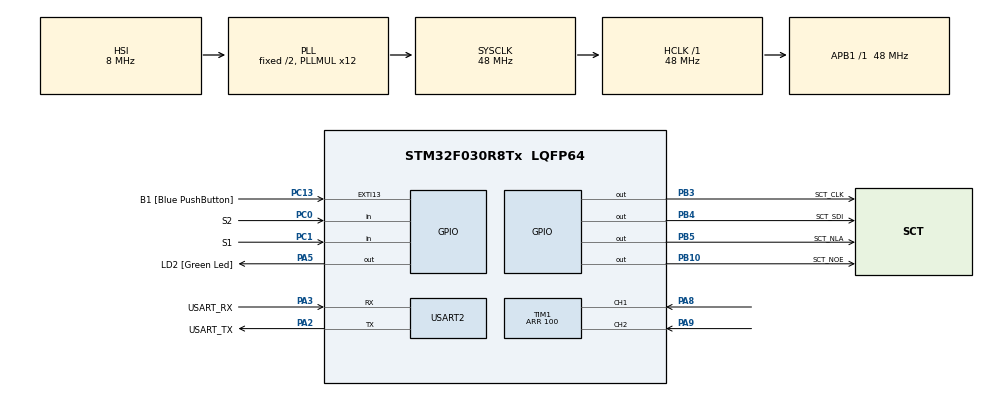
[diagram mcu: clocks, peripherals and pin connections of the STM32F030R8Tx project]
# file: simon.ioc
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Mcu.Family=STM32F0
Mcu.Name=STM32F030R8Tx
Mcu.Package=LQFP64
PA13.GPIO_Label=TMS
PA13.Mode=Serial_Wire
PA13.Signal=SYS_SWDIO
PA14.GPIO_Label=TCK
PA14.Mode=Serial_Wire
PA14.Signal=SYS_SWCLK
PA2.GPIO_Label=USART_TX
PA2.GPIO_Mode=GPIO_MODE_AF_PP
PA2.GPIO_PuPd=GPIO_NOPULL
PA2.GPIO_Speed=GPIO_SPEED_FREQ_LOW
PA2.Mode=Asynchronous
PA2.Signal=USART2_TX
PA3.GPIO_Label=USART_RX
PA3.GPIO_Mode=GPIO_MODE_AF_PP
PA3.GPIO_PuPd=GPIO_NOPULL
PA3.GPIO_Speed=GPIO_SPEED_FREQ_LOW
PA3.Mode=Asynchronous
PA3.Signal=USART2_RX
PA5.GPIO_Label=LD2 [Green Led]
PA5.GPIO_Mode=GPIO_MODE_OUTPUT_PP
PA5.GPIO_PuPd=GPIO_NOPULL
PA5.GPIO_Speed=GPIO_SPEED_FREQ_LOW
PA5.Signal=GPIO_Output
PA8.Signal=S_TIM1_CH1
PA9.Signal=S_TIM1_CH2
PB10.GPIO_Label=SCT_NOE
PB10.Signal=GPIO_Output
PB3.GPIO_Label=SCT_CLK
PB3.Signal=GPIO_Output
PB4.GPIO_Label=SCT_SDI
PB4.Signal=GPIO_Output
PB5.GPIO_Label=SCT_NLA
PB5.Signal=GPIO_Output
PC0.GPIO_Label=S2
PC0.GPIO_PuPd=GPIO_PULLUP
PC0.Signal=GPIO_Input
PC1.GPIO_Label=S1
PC1.GPIO_PuPd=GPIO_PULLUP
PC1.Signal=GPIO_Input
PC13.GPIO_Label=B1 [Blue PushButton]
PC13.GPIO_ModeDefaultEXTI=GPIO_MODE_IT_FALLING
PC13.Signal=GPXTI13
PC14-OSC32_IN.Mode=LSE-External-Oscillator
PC14-OSC32_IN.Signal=RCC_OSC32_IN
PC15-OSC32_OUT.Mode=LSE-External-Oscillator
PC15-OSC32_OUT.Signal=RCC_OSC32_OUT
PF0-OSC_IN.Mode=HSE-External-Clock-Source
PF0-OSC_IN.Signal=RCC_OSC_IN
PF1-OSC_OUT.Signal=RCC_OSC_OUT
ProjectManager.HeapSize=0x200
ProjectManager.StackSize=0x400
ProjectManager.TargetToolchain=STM32CubeIDE
RCC.AHBFreq_Value=48000000
RCC.APB1Freq_Value=48000000
RCC.APB1TimFreq_Value=48000000
RCC.HCLKFreq_Value=48000000
RCC.PLLMUL=RCC_PLL_MUL12
RCC.SYSCLKFreq_VALUE=48000000
RCC.SYSCLKSource=RCC_SYSCLKSOURCE_PLLCLK
SH.S_TIM1_CH1.0=TIM1_CH1,Encoder_Interface
SH.S_TIM1_CH2.0=TIM1_CH2,Encoder_Interface
TIM1.IC2Polarity=TIM_ICPOLARITY_FALLING
TIM1.Period=100
USART2.VirtualMode-Asynchronous=VM_ASYNC
board=NUCLEO-F030R8

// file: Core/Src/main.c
/* USER CODE BEGIN Header */
/**
  ******************************************************************************
  * @file           : main.c
  * @brief          : Main program body
  ******************************************************************************
  * @attention
  *
  * Copyright (c) 2022 STMicroelectronics.
  * All rights reserved.
  *
  * This software is licensed under terms that can be found in the LICENSE file
  * in the root directory of this software component.
  * If no LICENSE file comes with this software, it is provided AS-IS.
  *
  ******************************************************************************
  */
/* USER CODE END Header */
#include "main.h"

/* USER CODE BEGIN Includes */
#include "sct.h"
/* USER CODE END Includes */

TIM_HandleTypeDef htim1;

UART_HandleTypeDef huart2;

void SystemClock_Config(void);
static void MX_GPIO_Init(void);
static void MX_USART2_UART_Init(void);
static void MX_TIM1_Init(void);

/* USER CODE BEGIN 0 */
static uint8_t led = 0;
static uint16_t value;
static uint32_t tick;

void posun_p()
{
	value =  __HAL_TIM_GET_COUNTER(&htim1)*20;
	if (HAL_GetTick() >= tick + value)
	{
		sct_value(value, led);
		if(led==8)
		{
			led=1;
		}
		else
		{
			led++;
		}
		tick = HAL_GetTick();
		HAL_Delay(50);
	}
}

void posun_l()
{
	value =  __HAL_TIM_GET_COUNTER(&htim1)*20;
	if (HAL_GetTick() >= tick + value)
	{
		sct_value(value, led);
		if(led==0)
		{
			led=8;
		}
		else
		{
			led--;
		}
		tick = HAL_GetTick();
		HAL_Delay(50);
	}

}
/* USER CODE END 0 */

int main(void)
{

  /* MCU Configuration--------------------------------------------------------*/

  /* Reset of all peripherals, Initializes the Flash interface and the Systick. */
  HAL_Init();

  /* Configure the system clock */
  SystemClock_Config();

  /* Initialize all configured peripherals */
  MX_GPIO_Init();
  MX_USART2_UART_Init();
  MX_TIM1_Init();
  /* USER CODE BEGIN 2 */
  sct_init();
  HAL_Delay(1000);
  HAL_TIM_Encoder_Start(&htim1, htim1.Channel);

  /* USER CODE END 2 */

  /* Infinite loop */
  while (1)
  {

    /* USER CODE BEGIN 3 */

	  static enum {SHOW_PRAVO, SHOW_LEVO} state = SHOW_PRAVO;

	  	  if(HAL_GPIO_ReadPin(S1_GPIO_Port,S1_Pin)==0)
	  	  {
	  		  state= SHOW_PRAVO;
	  	  }
	  	  else if(HAL_GPIO_ReadPin(S2_GPIO_Port,S2_Pin)==0)
	  	  {
	  		  state= SHOW_LEVO;
	  	  }

	  	  if (state == SHOW_PRAVO)
	  	  {
	  		posun_p();
	  	  }
	  	  else if(state == SHOW_LEVO)
	  	  {
	  		posun_l();
	  	  }

  }
  /* USER CODE END 3 */
}

void SystemClock_Config(void)
{
  RCC_OscInitTypeDef RCC_OscInitStruct = {0};
  RCC_ClkInitTypeDef RCC_ClkInitStruct = {0};

  /** Initializes the RCC Oscillators according to the specified parameters
  * in the RCC_OscInitTypeDef structure.
  */
  RCC_OscInitStruct.OscillatorType = RCC_OSCILLATORTYPE_HSI;
  RCC_OscInitStruct.HSIState = RCC_HSI_ON;
  RCC_OscInitStruct.HSICalibrationValue = RCC_HSICALIBRATION_DEFAULT;
  RCC_OscInitStruct.PLL.PLLState = RCC_PLL_ON;
  RCC_OscInitStruct.PLL.PLLSource = RCC_PLLSOURCE_HSI;
  RCC_OscInitStruct.PLL.PLLMUL = RCC_PLL_MUL12;
  RCC_OscInitStruct.PLL.PREDIV = RCC_PREDIV_DIV1;
  if (HAL_RCC_OscConfig(&RCC_OscInitStruct) != HAL_OK)
  {
    Error_Handler();
  }
  /** Initializes the CPU, AHB and APB buses clocks
  */
  RCC_ClkInitStruct.ClockType = RCC_CLOCKTYPE_HCLK|RCC_CLOCKTYPE_SYSCLK
                              |RCC_CLOCKTYPE_PCLK1;
  RCC_ClkInitStruct.SYSCLKSource = RCC_SYSCLKSOURCE_PLLCLK;
  RCC_ClkInitStruct.AHBCLKDivider = RCC_SYSCLK_DIV1;
  RCC_ClkInitStruct.APB1CLKDivider = RCC_HCLK_DIV1;

  if (HAL_RCC_ClockConfig(&RCC_ClkInitStruct, FLASH_LATENCY_1) != HAL_OK)
  {
    Error_Handler();
  }
}

static void MX_TIM1_Init(void)
{

  TIM_Encoder_InitTypeDef sConfig = {0};
  TIM_MasterConfigTypeDef sMasterConfig = {0};

  htim1.Instance = TIM1;
  htim1.Init.Prescaler = 0;
  htim1.Init.CounterMode = TIM_COUNTERMODE_UP;
  htim1.Init.Period = 100;
  htim1.Init.ClockDivision = TIM_CLOCKDIVISION_DIV1;
  htim1.Init.RepetitionCounter = 0;
  htim1.Init.AutoReloadPreload = TIM_AUTORELOAD_PRELOAD_DISABLE;
  sConfig.EncoderMode = TIM_ENCODERMODE_TI1;
  sConfig.IC1Polarity = TIM_ICPOLARITY_RISING;
  sConfig.IC1Selection = TIM_ICSELECTION_DIRECTTI;
  sConfig.IC1Prescaler = TIM_ICPSC_DIV1;
  sConfig.IC1Filter = 0;
  sConfig.IC2Polarity = TIM_ICPOLARITY_FALLING;
  sConfig.IC2Selection = TIM_ICSELECTION_DIRECTTI;
  sConfig.IC2Prescaler = TIM_ICPSC_DIV1;
  sConfig.IC2Filter = 0;
  if (HAL_TIM_Encoder_Init(&htim1, &sConfig) != HAL_OK)
  {
    Error_Handler();
  }
  sMasterConfig.MasterOutputTrigger = TIM_TRGO_RESET;
  sMasterConfig.MasterSlaveMode = TIM_MASTERSLAVEMODE_DISABLE;
  if (HAL_TIMEx_MasterConfigSynchronization(&htim1, &sMasterConfig) != HAL_OK)
  {
    Error_Handler();
  }

}

static void MX_USART2_UART_Init(void)
{

  huart2.Instance = USART2;
  huart2.Init.BaudRate = 38400;
  huart2.Init.WordLength = UART_WORDLENGTH_8B;
  huart2.Init.StopBits = UART_STOPBITS_1;
  huart2.Init.Parity = UART_PARITY_NONE;
  huart2.Init.Mode = UART_MODE_TX_RX;
  huart2.Init.HwFlowCtl = UART_HWCONTROL_NONE;
  huart2.Init.OverSampling = UART_OVERSAMPLING_16;
  huart2.Init.OneBitSampling = UART_ONE_BIT_SAMPLE_DISABLE;
  huart2.AdvancedInit.AdvFeatureInit = UART_ADVFEATURE_NO_INIT;
  if (HAL_UART_Init(&huart2) != HAL_OK)
  {
    Error_Handler();
  }

}

static void MX_GPIO_Init(void)
{
  GPIO_InitTypeDef GPIO_InitStruct = {0};

  /* GPIO Ports Clock Enable */
  __HAL_RCC_GPIOC_CLK_ENABLE();
  __HAL_RCC_GPIOF_CLK_ENABLE();
  __HAL_RCC_GPIOA_CLK_ENABLE();
  __HAL_RCC_GPIOB_CLK_ENABLE();

  /*Configure GPIO pin Output Level */
  HAL_GPIO_WritePin(GPIOA, GPIO_PIN_5, GPIO_PIN_RESET);

  /*Configure GPIO pin Output Level */
  HAL_GPIO_WritePin(GPIOB, GPIO_PIN_10|GPIO_PIN_3|GPIO_PIN_4|GPIO_PIN_5, GPIO_PIN_RESET);

  /*Configure GPIO pin : PC13 */
  GPIO_InitStruct.Pin = GPIO_PIN_13;
  GPIO_InitStruct.Mode = GPIO_MODE_IT_FALLING;
  GPIO_InitStruct.Pull = GPIO_NOPULL;
  HAL_GPIO_Init(GPIOC, &GPIO_InitStruct);

  /*Configure GPIO pins : PC0 PC1 */
  GPIO_InitStruct.Pin = GPIO_PIN_0|GPIO_PIN_1;
  GPIO_InitStruct.Mode = GPIO_MODE_INPUT;
  GPIO_InitStruct.Pull = GPIO_PULLUP;
  HAL_GPIO_Init(GPIOC, &GPIO_InitStruct);

  /*Configure GPIO pin : PA5 */
  GPIO_InitStruct.Pin = GPIO_PIN_5;
  GPIO_InitStruct.Mode = GPIO_MODE_OUTPUT_PP;
  GPIO_InitStruct.Pull = GPIO_NOPULL;
  GPIO_InitStruct.Speed = GPIO_SPEED_FREQ_LOW;
  HAL_GPIO_Init(GPIOA, &GPIO_InitStruct);

  /*Configure GPIO pins : PB10 PB3 PB4 PB5 */
  GPIO_InitStruct.Pin = GPIO_PIN_10|GPIO_PIN_3|GPIO_PIN_4|GPIO_PIN_5;
  GPIO_InitStruct.Mode = GPIO_MODE_OUTPUT_PP;
  GPIO_InitStruct.Pull = GPIO_NOPULL;
  GPIO_InitStruct.Speed = GPIO_SPEED_FREQ_LOW;
  HAL_GPIO_Init(GPIOB, &GPIO_InitStruct);

}

void Error_Handler(void)
{
  __disable_irq();
  while (1)
  {
  }
}
